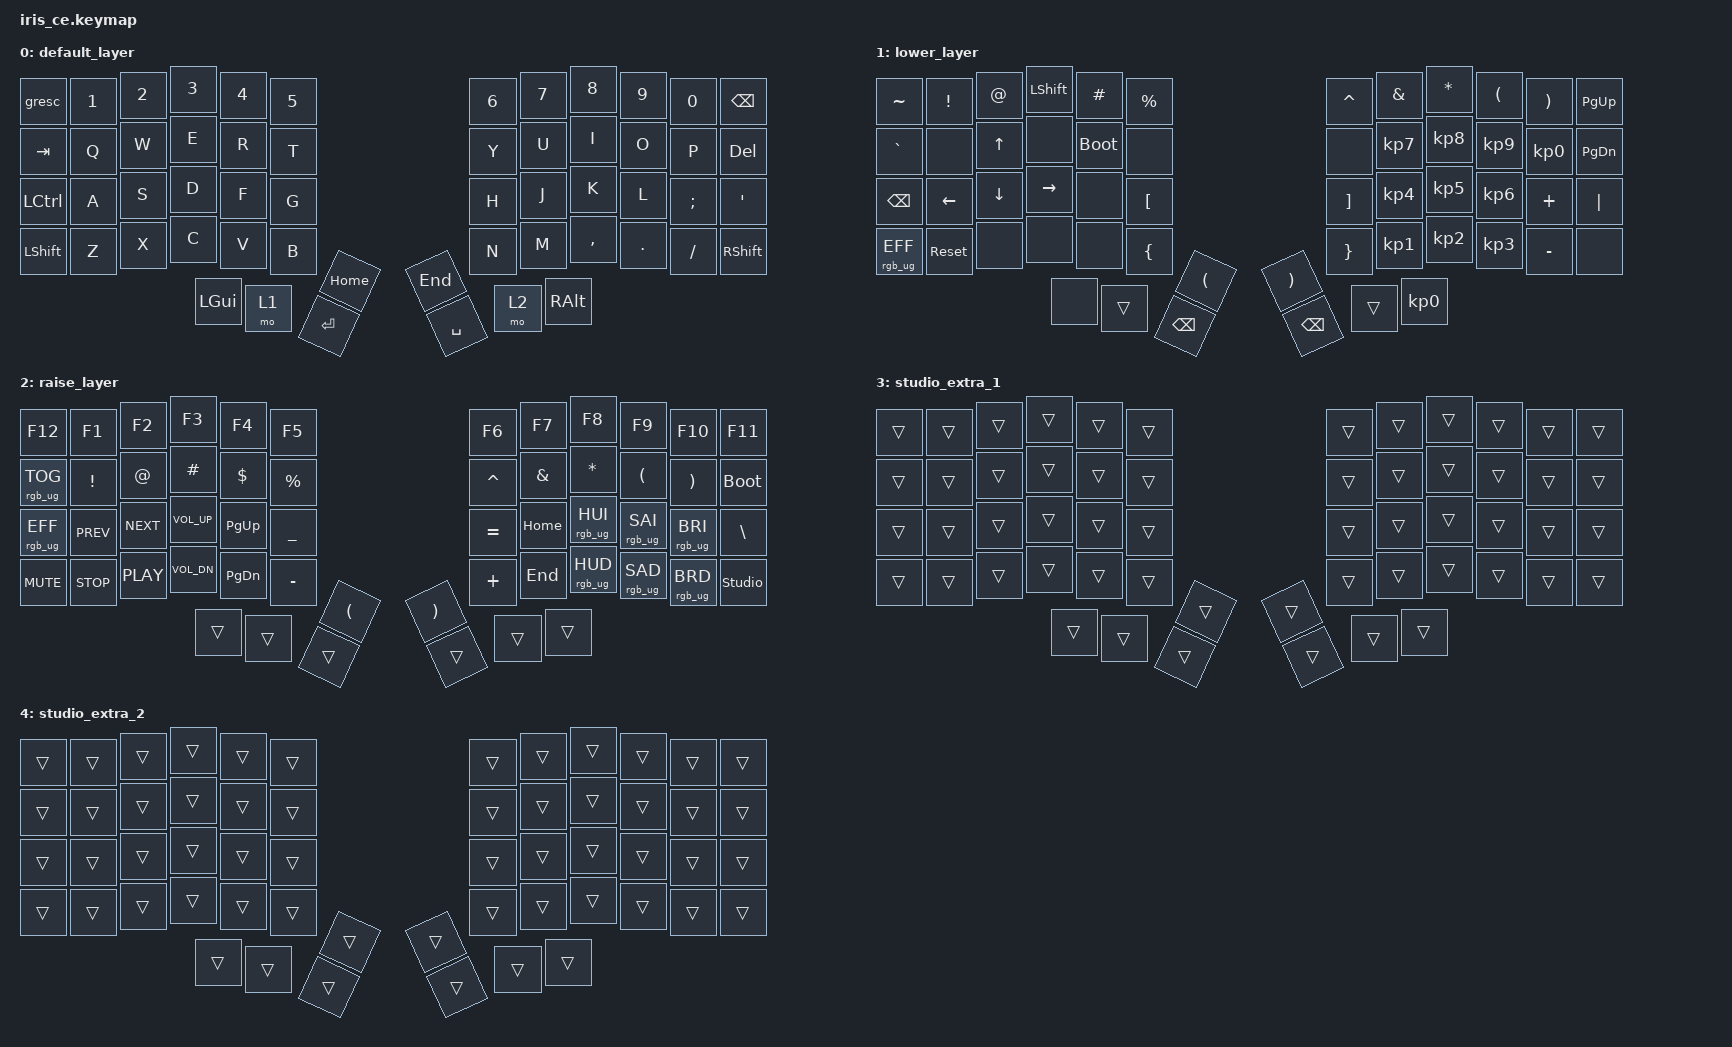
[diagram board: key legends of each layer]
/*
 * Copyright (c) 2024 The ZMK Contributors
 *
 * SPDX-License-Identifier: MIT
 */

#include <behaviors.dtsi>
#include <dt-bindings/zmk/keys.h>
#include <dt-bindings/zmk/rgb.h>

/ {
    keymap {
        compatible = "zmk,keymap";

        default_layer {
            bindings = <
&gresc     &kp N1  &kp N2  &kp N3  &kp N4    &kp N5                        &kp N6  &kp N7    &kp N8     &kp N9   &kp N0    &kp BACKSPACE
&kp TAB    &kp Q   &kp W   &kp E   &kp R     &kp T                         &kp Y   &kp U     &kp I      &kp O    &kp P     &kp DELETE
&kp LCTRL  &kp A   &kp S   &kp D   &kp F     &kp G                         &kp H   &kp J     &kp K      &kp L    &kp SEMI  &kp SQT
&kp LSHFT  &kp Z   &kp X   &kp C   &kp V     &kp B   &kp HOME   &kp END    &kp N   &kp M     &kp COMMA  &kp DOT  &kp FSLH  &kp RSHFT
                                   &kp LGUI  &mo 1   &kp ENTER  &kp SPACE  &mo 2   &kp RALT
            >;
        };

        lower_layer {
            bindings = <
&kp TILDE        &kp EXCL    &kp AT    &kp LSHFT  &kp HASH     &kp PERCENT                      &kp CARET  &kp AMPS         &kp ASTRK        &kp LPAR         &kp RPAR         &kp PAGE_UP
&kp GRAVE        &none       &kp UP    &none      &bootloader  &none                            &none      &kp KP_NUMBER_7  &kp KP_N8        &kp KP_NUMBER_9  &kp KP_NUMBER_0  &kp PAGE_DOWN
&kp BSPC         &kp LEFT    &kp DOWN  &kp RIGHT  &none        &kp LBKT                         &kp RBKT   &kp KP_NUMBER_4  &kp KP_NUMBER_5  &kp KP_NUMBER_6  &kp PLUS         &kp PIPE
&rgb_ug RGB_EFF  &sys_reset  &none     &none      &none        &kp LBRC     &kp LPAR  &kp RPAR  &kp RBRC   &kp KP_NUMBER_1  &kp KP_NUMBER_2  &kp KP_NUMBER_3  &kp MINUS        &none
                                                  &none        &trans       &kp BSPC  &kp BSPC  &trans     &kp KP_N0
            >;
        };

        raise_layer {
            bindings = <
&kp F12          &kp F1      &kp F2      &kp F3        &kp F4         &kp F5                           &kp F6     &kp F7    &kp F8           &kp F9           &kp F10          &kp F11
&rgb_ug RGB_TOG  &kp EXCL    &kp AT      &kp HASH      &kp DOLLAR     &kp PERCENT                      &kp CARET  &kp AMPS  &kp ASTRK        &kp LPAR         &kp RPAR         &bootloader
&rgb_ug RGB_EFF  &kp C_PREV  &kp C_NEXT  &kp C_VOL_UP  &kp PAGE_UP    &kp UNDER                        &kp EQUAL  &kp HOME  &rgb_ug RGB_HUI  &rgb_ug RGB_SAI  &rgb_ug RGB_BRI  &kp BSLH
&kp C_MUTE       &kp C_STOP  &kp C_PLAY  &kp C_VOL_DN  &kp PAGE_DOWN  &kp MINUS    &kp LPAR  &kp RPAR  &kp PLUS   &kp END   &rgb_ug RGB_HUD  &rgb_ug RGB_SAD  &rgb_ug RGB_BRD  &studio_unlock
                                                       &trans         &trans       &trans    &trans    &trans     &trans
            >;
        };

        studio_extra_1 {
            bindings = <
&trans  &trans  &trans  &trans  &trans  &trans                  &trans  &trans  &trans  &trans  &trans  &trans
&trans  &trans  &trans  &trans  &trans  &trans                  &trans  &trans  &trans  &trans  &trans  &trans
&trans  &trans  &trans  &trans  &trans  &trans                  &trans  &trans  &trans  &trans  &trans  &trans
&trans  &trans  &trans  &trans  &trans  &trans  &trans  &trans  &trans  &trans  &trans  &trans  &trans  &trans
                                &trans  &trans  &trans  &trans  &trans  &trans
            >;
        };

        studio_extra_2 {
            bindings = <
&trans  &trans  &trans  &trans  &trans  &trans                  &trans  &trans  &trans  &trans  &trans  &trans
&trans  &trans  &trans  &trans  &trans  &trans                  &trans  &trans  &trans  &trans  &trans  &trans
&trans  &trans  &trans  &trans  &trans  &trans                  &trans  &trans  &trans  &trans  &trans  &trans
&trans  &trans  &trans  &trans  &trans  &trans  &trans  &trans  &trans  &trans  &trans  &trans  &trans  &trans
                                &trans  &trans  &trans  &trans  &trans  &trans
            >;
        };
    };
};
